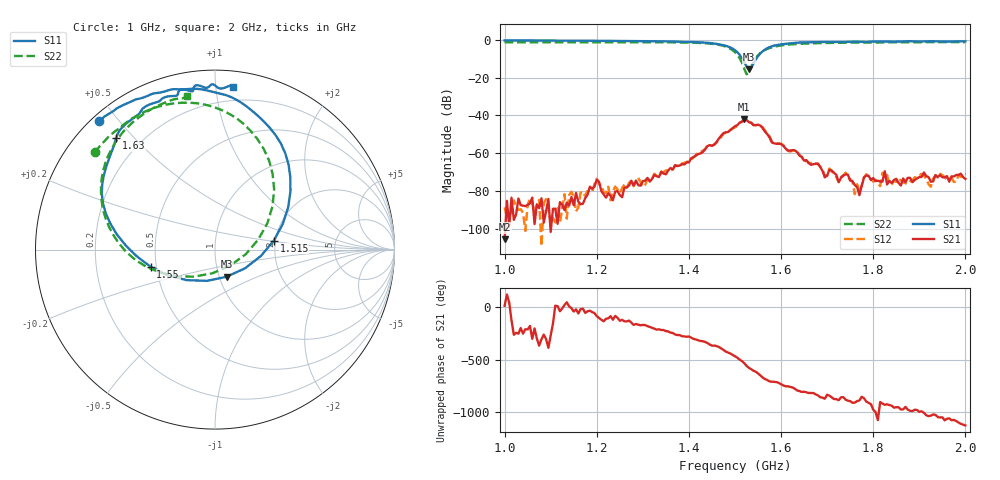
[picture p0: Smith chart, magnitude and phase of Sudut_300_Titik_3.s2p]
# Hz S RI R 50
! CMT, C1220, 16058040, 17.2.0/1
! Date: 14/08/2018 12:41:17
! Data: Format (Calibration Info)
! Freq  S11: Re/Im (F2)  S21: Re/Im (F2)  S12: Re/Im (F2)  S22: Re/Im (F2)
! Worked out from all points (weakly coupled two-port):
!   201 points, 1 GHz to 2 GHz, reference 50 ohm
!   highest |S21| = -42.15 dB at 1.52 GHz (marker M1); lowest = -105.7 dB at 1 GHz (marker M2)
!   lowest |S11| = -15.7 dB at 1.53 GHz (marker M3), VSWR 1.39, Z = 54.2 - j16.9 ohm
!   |S11| at or under -10 dB: 1.516 GHz to 1.546 GHz (30.33 MHz wide, 1.98 % of centre)
!   |S22| runs from -18.2 to -1.2 dB; largest |S21 - S12| = 0.00034
!   S11 on the Smith chart (normalised r, x): 1 GHz: 0.02, +0.44; 1.515 GHz: 1.96, +0.22; 1.55 GHz: 0.47, -0.10; 1.63 GHz: 0.11, +0.44; 2 GHz: 0.10, +1.11
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1e9  -0.6477 0.7137  4.96e-06 1.43e-06  1.49e-05 3.31e-05  -0.6706 0.5413
1.17e9  -0.4732 0.8224  4.48e-05 -9.18e-06  7.18e-05 -1.6e-05  -0.5583 0.6587
1.2e9  -0.432 0.8385  2.41e-05 -0.000198  2.6e-05 -0.000209  -0.5295 0.6727
1.21e9  -0.4218 0.8408  -4.65e-05 -8.65e-05  -8.62e-05 -0.000115  -0.5259 0.6763
1.25e9  -0.3554 0.8656  -4.73e-05 -6.16e-05  -7.93e-06 -8.79e-05  -0.4908 0.7107
1.335e9  -0.211 0.893  -0.000203 0.000114  -0.000214 0.000125  -0.3738 0.7758
1.45e9  0.186 0.79  0.00155 -0.000167  0.00157 -0.000246  0.0191 0.7848
1.5e9  0.4205 0.3261  -0.00183 -0.00483  -0.00166 -0.00455  0.3295 0.3361
1.515e9  0.3277 0.0498  -0.00616 -0.0029  -0.00616 -0.00312  0.241 0.0562
1.52e9  0.2566 -0.0347  -0.00778 -0.000674  -0.00788 -0.000798  0.1718 -0.0254
1.53e9  0.0652 -0.1512  -0.00518 0.00412  -0.0052 0.0041  -0.0139 -0.1317
1.55e9  -0.3579 -0.0962  0.00031 0.00566  7.35e-05 0.00563  -0.3802 -0.0973
1.63e9  -0.5513 0.6213  0.000562 -0.00104  0.000602 -0.001  -0.6161 0.4644
1.67e9  -0.4367 0.7446  -9.8e-05 -0.000497  -9.47e-05 -0.00058  -0.564 0.583
1.725e9  -0.3222 0.8218  -0.000168 -2.71e-05  -0.000145 -8.93e-05  -0.4903 0.6784
1.74e9  -0.3021 0.8336  -0.000263 -7.16e-05  -0.000303 -3.38e-05  -0.4709 0.698
1.76e9  -0.2645 0.8529  -0.000138 3.39e-05  -8.01e-05 -1.73e-05  -0.4463 0.7193
1.77e9  -0.2358 0.8556  -7.66e-05 -9.31e-06  -8.01e-05 -5.15e-05  -0.4341 0.7294
1.785e9  -0.2095 0.8603  -0.000255 1.77e-05  -0.000276 -1.53e-05  -0.4149 0.7434
1.825e9  -0.1553 0.8886  -0.000273 0.000187  -0.000158 0.000141  -0.3669 0.7749
1.835e9  -0.1328 0.882  -0.000148 0.00011  -8.58e-05 0.000129  -0.3553 0.7823
2e9  0.1019 0.9067  0.000125 -0.000166  0.000161 -0.000229  -0.1562 0.8541
